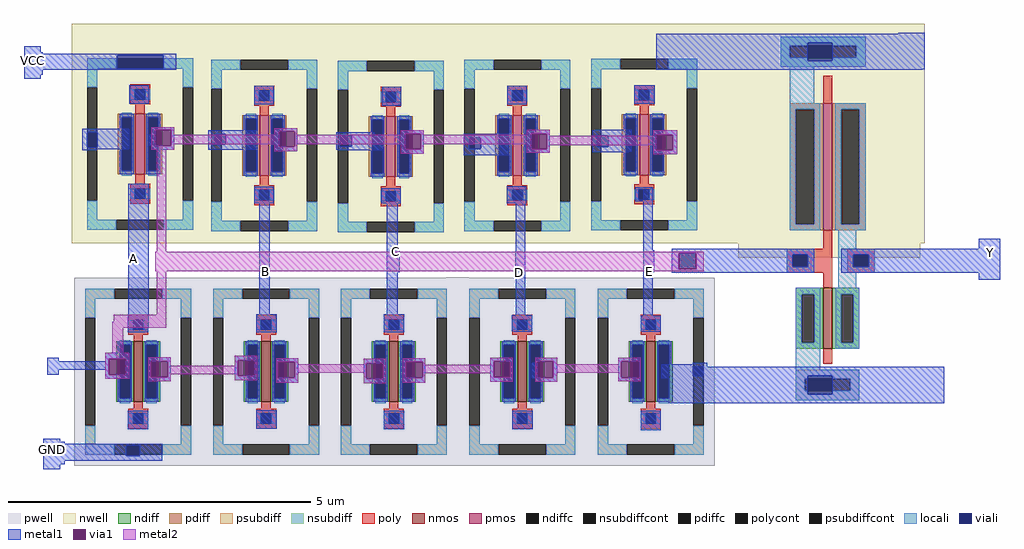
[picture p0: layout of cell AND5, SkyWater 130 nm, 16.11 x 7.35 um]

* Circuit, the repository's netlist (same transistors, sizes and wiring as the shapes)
* SPICE3 file created from AND5.ext - technology: sky130A

.subckt sky130_fd_pr__nfet_01v8_SFU2NW B D S G
X0 S G D B sky130_fd_pr__nfet_01v8 ad=0.29 pd=2.58 as=0.29 ps=2.58 w=1 l=0.15
.ends

.subckt sky130_fd_pr__pfet_01v8_KBS6X7 B D S G VSUBS
X0 S G D B sky130_fd_pr__pfet_01v8 ad=0.29 pd=2.58 as=0.29 ps=2.58 w=1 l=0.15
.ends

.subckt NAND5 VDD E C D B A Y GND
XXM1 GND Y XM8/D A sky130_fd_pr__nfet_01v8_SFU2NW
XXM2 GND XM8/S XM6/D C sky130_fd_pr__nfet_01v8_SFU2NW
XXM3 VDD VDD Y A GND sky130_fd_pr__pfet_01v8_KBS6X7
XXM4 VDD VDD Y B GND sky130_fd_pr__pfet_01v8_KBS6X7
XXM5 VDD VDD Y C GND sky130_fd_pr__pfet_01v8_KBS6X7
XXM6 GND XM6/D XM6/S D sky130_fd_pr__nfet_01v8_SFU2NW
XXM8 GND XM8/D XM8/S B sky130_fd_pr__nfet_01v8_SFU2NW
Xsky130_fd_pr__pfet_01v8_KBS6X7_0 VDD VDD Y D GND sky130_fd_pr__pfet_01v8_KBS6X7
Xsky130_fd_pr__pfet_01v8_KBS6X7_1 VDD VDD Y E GND sky130_fd_pr__pfet_01v8_KBS6X7
Xsky130_fd_pr__nfet_01v8_SFU2NW_0 GND XM6/S GND E sky130_fd_pr__nfet_01v8_SFU2NW
*C0 VDD GND 5.552845f
.ends

.subckt INV vdd vss out in
X0 out in vdd vdd sky130_fd_pr__pfet_01v8 ad=1.155 pd=5.3 as=1.155 ps=5.3 w=2.1 l=0.15
X1 out in vss vss sky130_fd_pr__nfet_01v8 ad=0.45 pd=2.9 as=0.45 ps=2.9 w=1 l=0.15
.ends

**.subckt AND5
XNAND5_0 VCC E C D B A INV_0/in GND NAND5
XINV_0 VCC GND Y INV_0/in INV
*C0 VCC GND 7.627772f
**.ends

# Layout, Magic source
magic
tech sky130A
<< nwell >>
rect 45 368 1453 730
<< metal1 >>
rect -34 639 -6 693
rect 141 334 153 350
rect 354 319 370 355
rect 570 320 586 356
rect 777 319 793 355
rect 990 320 1006 356
rect 1542 308 1577 375
rect -2 -5 26 45
<< via1 >>
rect 1047 351 1075 352
rect 1047 325 1076 351
<< metal2 >>
rect 183 352 1088 354
rect 183 325 1047 352
rect 1075 351 1088 352
rect 1076 325 1088 351
rect 183 322 1088 325
use INV  INV_0
transform 1 0 1295 0 1 494
box -285 -390 280 235
use NAND5  NAND5_0
transform 1 0 289 0 1 590
box -321 -589 817 101
<< labels >>
rlabel metal1 1562 352 1562 352 1 Y
rlabel metal1 13 28 13 28 1 GND
rlabel metal1 -20 670 -20 670 1 VCC
rlabel metal1 147 342 147 342 1 A
rlabel metal1 364 321 364 321 1 B
rlabel metal1 580 355 580 355 1 C
rlabel metal1 784 320 784 320 1 D
rlabel metal1 998 321 998 321 1 E
<< end >>

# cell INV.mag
magic
tech sky130A
<< nwell >>
rect -150 -150 150 235
<< nmos >>
rect -10 -300 5 -200
<< pmos >>
rect -10 -105 5 105
<< ndiff >>
rect -55 -210 -10 -200
rect -55 -290 -45 -210
rect -25 -290 -10 -210
rect -55 -300 -10 -290
rect 5 -210 50 -200
rect 5 -290 20 -210
rect 40 -290 50 -210
rect 5 -300 50 -290
<< pdiff >>
rect -65 95 -10 105
rect -65 -95 -55 95
rect -25 -95 -10 95
rect -65 -105 -10 -95
rect 5 95 60 105
rect 5 -95 20 95
rect 50 -95 60 95
rect 5 -105 60 -95
<< ndiffc >>
rect -45 -290 -25 -210
rect 20 -290 40 -210
<< pdiffc >>
rect -55 -95 -25 95
rect 20 -95 50 95
<< psubdiff >>
rect -55 -350 50 -335
rect -55 -370 -40 -350
rect 35 -370 50 -350
rect -55 -385 50 -370
<< nsubdiff >>
rect -80 200 60 215
rect -80 180 -65 200
rect 45 180 60 200
rect -80 165 60 180
<< psubdiffcont >>
rect -40 -370 35 -350
<< nsubdiffcont >>
rect -65 180 45 200
<< poly >>
rect -10 105 5 150
rect -10 -135 5 -105
rect -70 -145 5 -135
rect -70 -165 -60 -145
rect -35 -165 5 -145
rect -70 -175 5 -165
rect 30 -145 75 -135
rect 30 -165 40 -145
rect 65 -165 75 -145
rect 30 -175 75 -165
rect -10 -200 5 -175
rect -10 -325 5 -300
<< polycont >>
rect -60 -165 -35 -145
rect 40 -165 65 -145
<< locali >>
rect -80 205 60 215
rect -80 200 -35 205
rect 5 200 60 205
rect -80 180 -65 200
rect 45 180 60 200
rect -80 175 -35 180
rect 5 175 60 180
rect -80 165 60 175
rect -65 105 -25 165
rect -65 95 -15 105
rect -65 -95 -55 95
rect -25 -95 -15 95
rect -65 -105 -15 -95
rect 10 95 60 105
rect 10 -95 20 95
rect 50 -95 60 95
rect 10 -105 60 -95
rect 15 -135 45 -105
rect -70 -145 -25 -135
rect -70 -165 -60 -145
rect -35 -165 -25 -145
rect -70 -175 -25 -165
rect 15 -145 75 -135
rect 15 -165 40 -145
rect 65 -165 75 -145
rect 15 -175 75 -165
rect 15 -200 45 -175
rect -55 -210 -15 -200
rect -55 -290 -45 -210
rect -25 -290 -15 -210
rect -55 -335 -15 -290
rect 10 -210 50 -200
rect 10 -290 20 -210
rect 40 -290 50 -210
rect 10 -300 50 -290
rect -55 -345 50 -335
rect -55 -350 -35 -345
rect 5 -350 50 -345
rect -55 -370 -40 -350
rect 35 -370 50 -350
rect -55 -375 -35 -370
rect 5 -375 50 -370
rect -55 -385 50 -375
<< viali >>
rect -35 200 5 205
rect -35 180 5 200
rect -35 175 5 180
rect -60 -165 -35 -145
rect 40 -165 65 -145
rect -35 -350 5 -345
rect -35 -370 5 -350
rect -35 -375 5 -370
<< metal1 >>
rect 114 220 158 221
rect -285 205 158 220
rect -285 175 -35 205
rect 5 175 158 205
rect -285 161 158 175
rect -285 160 154 161
rect -260 -145 -25 -135
rect -260 -165 -60 -145
rect -35 -165 -25 -145
rect -260 -175 -25 -165
rect 20 -145 280 -135
rect 20 -165 40 -145
rect 65 -165 280 -145
rect 20 -175 280 -165
rect -265 -345 190 -330
rect -265 -375 -35 -345
rect 5 -375 190 -345
rect -265 -390 190 -375
<< labels >>
rlabel metal1 155 196 155 196 1 vdd
rlabel metal1 250 -165 265 -145 1 out
rlabel metal1 175 -360 175 -360 1 vss
rlabel metal1 -240 -165 -225 -145 1 in
<< end >>

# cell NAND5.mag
magic
tech sky130A
magscale 1 2
<< nwell >>
rect -384 128 -174 130
rect -454 -138 -406 -66
rect -212 -74 -160 -70
rect 1230 -144 1352 -72
<< pwell >>
rect 748 -1178 822 -556
rect 1196 -1178 1236 -558
<< viali >>
rect -338 134 -186 176
rect -438 -128 -404 -78
rect -16 -118 20 -84
rect 396 -124 436 -88
rect 824 -132 862 -96
rect 1244 -126 1282 -90
rect 1562 -884 1598 -850
rect -308 -1146 -264 -1112
<< metal1 >>
rect -642 182 -584 186
rect -642 176 -144 182
rect -642 134 -338 176
rect -186 134 -144 176
rect -642 128 -144 134
rect -642 112 -584 128
rect -298 16 -234 78
rect 114 14 178 76
rect 536 10 600 72
rect 950 14 1014 76
rect 1368 16 1436 78
rect -454 -78 -298 -66
rect -454 -128 -438 -78
rect -404 -128 -298 -78
rect -226 -70 -150 -62
rect -226 -86 -212 -70
rect -232 -122 -212 -86
rect -160 -122 -150 -70
rect -454 -134 -298 -128
rect -454 -138 -406 -134
rect -226 -136 -150 -122
rect -38 -84 122 -72
rect -38 -118 -16 -84
rect 20 -118 122 -84
rect -38 -136 122 -118
rect 180 -74 256 -64
rect 180 -126 196 -74
rect 248 -126 256 -74
rect 180 -140 256 -126
rect 384 -86 512 -78
rect 598 -82 674 -72
rect 1014 -82 1090 -70
rect 1238 -72 1360 -70
rect 384 -88 536 -86
rect 384 -124 396 -88
rect 436 -124 536 -88
rect 384 -136 536 -124
rect 392 -138 536 -136
rect 598 -134 612 -82
rect 664 -134 674 -82
rect 598 -148 674 -134
rect 806 -96 958 -82
rect 806 -132 824 -96
rect 862 -132 958 -96
rect 806 -154 958 -132
rect 1014 -134 1028 -82
rect 1080 -134 1090 -82
rect 1014 -146 1090 -134
rect 1230 -90 1360 -72
rect 1230 -126 1244 -90
rect 1282 -126 1360 -90
rect 1230 -142 1360 -126
rect 1432 -86 1510 -72
rect 1432 -138 1442 -86
rect 1496 -138 1510 -86
rect 1230 -144 1352 -142
rect 1432 -150 1510 -138
rect -302 -678 -234 -248
rect 114 -312 178 -258
rect 534 -312 598 -262
rect 948 -312 1012 -256
rect 130 -678 166 -312
rect 552 -678 588 -312
rect -304 -722 -234 -678
rect -304 -738 -236 -722
rect 120 -738 188 -678
rect 542 -738 610 -678
rect 978 -682 1008 -312
rect 964 -734 1032 -682
rect 1398 -684 1430 -262
rect 1390 -734 1456 -684
rect -570 -834 -532 -822
rect -378 -826 -298 -806
rect -378 -834 -366 -826
rect -570 -862 -366 -834
rect -570 -878 -532 -862
rect -378 -878 -366 -862
rect -310 -878 -298 -826
rect -378 -892 -298 -878
rect -236 -834 -162 -820
rect -236 -886 -228 -834
rect -172 -886 -162 -834
rect -236 -900 -162 -886
rect 50 -830 124 -816
rect 50 -882 60 -830
rect 116 -882 124 -830
rect 50 -896 124 -882
rect 186 -836 260 -824
rect 186 -888 192 -836
rect 248 -888 260 -836
rect 186 -904 260 -888
rect 476 -840 550 -826
rect 476 -892 484 -840
rect 540 -892 550 -840
rect 476 -906 550 -892
rect 604 -836 678 -824
rect 604 -888 614 -836
rect 670 -888 678 -836
rect 604 -904 678 -888
rect 894 -834 968 -822
rect 894 -886 904 -834
rect 960 -886 968 -834
rect 1042 -834 1114 -822
rect 1042 -838 1048 -834
rect 894 -902 968 -886
rect 1030 -888 1048 -838
rect 1102 -888 1114 -834
rect 1030 -890 1114 -888
rect 1042 -902 1114 -890
rect 1316 -834 1390 -822
rect 1316 -888 1326 -834
rect 1386 -888 1390 -834
rect 1562 -844 1610 -838
rect 1316 -900 1390 -888
rect 1458 -850 1610 -844
rect 1458 -884 1562 -850
rect 1598 -884 1610 -850
rect 1458 -890 1610 -884
rect 1562 -894 1610 -890
rect -304 -1058 -236 -998
rect 120 -1056 188 -996
rect 542 -1058 610 -998
rect 966 -1058 1034 -998
rect 1390 -1062 1456 -998
rect -570 -1106 -512 -1100
rect -570 -1112 -190 -1106
rect -570 -1146 -308 -1112
rect -264 -1146 -190 -1112
rect -570 -1162 -190 -1146
rect -570 -1174 -512 -1162
<< via1 >>
rect -212 -122 -160 -70
rect 196 -126 248 -74
rect 612 -134 664 -82
rect 1028 -134 1080 -82
rect 1442 -138 1496 -86
rect -366 -878 -310 -826
rect -228 -886 -172 -834
rect 60 -882 116 -830
rect 192 -888 248 -836
rect 484 -892 540 -840
rect 614 -888 670 -836
rect 904 -886 960 -834
rect 1048 -888 1102 -834
rect 1326 -888 1386 -834
<< metal2 >>
rect -226 -70 -150 -62
rect -226 -122 -212 -70
rect -160 -86 -150 -70
rect 180 -74 256 -64
rect 180 -86 196 -74
rect -160 -118 196 -86
rect -160 -122 -150 -118
rect -226 -136 -150 -122
rect 180 -126 196 -118
rect 248 -86 256 -74
rect 598 -82 674 -72
rect 598 -86 612 -82
rect 248 -118 612 -86
rect 248 -126 256 -118
rect -208 -680 -176 -136
rect 180 -140 256 -126
rect 598 -134 612 -118
rect 664 -86 674 -82
rect 1014 -82 1090 -70
rect 1014 -86 1028 -82
rect 664 -118 1028 -86
rect 664 -134 674 -118
rect 598 -148 674 -134
rect 1014 -134 1028 -118
rect 1080 -90 1090 -82
rect 1432 -86 1510 -72
rect 1432 -90 1442 -86
rect 1080 -120 1442 -90
rect 1080 -134 1090 -120
rect 1014 -146 1090 -134
rect 1432 -138 1442 -120
rect 1496 -138 1510 -86
rect 1432 -150 1510 -138
rect -350 -704 -176 -680
rect -354 -724 -176 -704
rect -354 -806 -318 -724
rect -378 -826 -298 -806
rect -378 -878 -366 -826
rect -310 -878 -298 -826
rect -378 -892 -298 -878
rect -236 -834 -162 -820
rect -236 -886 -228 -834
rect -172 -848 -162 -834
rect 50 -830 124 -816
rect 50 -848 60 -830
rect -172 -876 60 -848
rect -172 -886 -162 -876
rect -236 -900 -162 -886
rect 50 -882 60 -876
rect 116 -882 124 -830
rect 50 -896 124 -882
rect 186 -836 260 -824
rect 186 -888 192 -836
rect 248 -844 260 -836
rect 476 -840 550 -826
rect 476 -844 484 -840
rect 248 -872 484 -844
rect 248 -888 260 -872
rect 186 -904 260 -888
rect 476 -892 484 -872
rect 540 -892 550 -840
rect 476 -906 550 -892
rect 604 -836 678 -824
rect 604 -888 614 -836
rect 670 -846 678 -836
rect 894 -834 968 -822
rect 894 -846 904 -834
rect 670 -874 904 -846
rect 670 -888 678 -874
rect 604 -904 678 -888
rect 894 -886 904 -874
rect 960 -886 968 -834
rect 894 -902 968 -886
rect 1042 -834 1114 -822
rect 1042 -888 1048 -834
rect 1102 -844 1114 -834
rect 1316 -834 1390 -822
rect 1316 -844 1326 -834
rect 1102 -872 1326 -844
rect 1102 -888 1114 -872
rect 1042 -902 1114 -888
rect 1316 -888 1326 -872
rect 1386 -888 1390 -834
rect 1316 -900 1390 -888
use sky130_fd_pr__nfet_01v8_SFU2NW  sky130_fd_pr__nfet_01v8_SFU2NW_0
transform 1 0 1423 0 1 -868
box -211 -310 211 310
use sky130_fd_pr__pfet_01v8_KBS6X7  sky130_fd_pr__pfet_01v8_KBS6X7_0
transform 1 0 983 0 1 -121
box -211 -319 211 319
use sky130_fd_pr__pfet_01v8_KBS6X7  sky130_fd_pr__pfet_01v8_KBS6X7_1
transform 1 0 1401 0 1 -119
box -211 -319 211 319
use sky130_fd_pr__nfet_01v8_SFU2NW  XM1
transform 1 0 -269 0 1 -868
box -211 -310 211 310
use sky130_fd_pr__nfet_01v8_SFU2NW  XM2
transform 1 0 575 0 1 -868
box -211 -310 211 310
use sky130_fd_pr__pfet_01v8_KBS6X7  XM3
transform 1 0 -263 0 1 -117
box -211 -319 211 319
use sky130_fd_pr__pfet_01v8_KBS6X7  XM4
transform 1 0 147 0 1 -121
box -211 -319 211 319
use sky130_fd_pr__pfet_01v8_KBS6X7  XM5
transform 1 0 565 0 1 -125
box -211 -319 211 319
use sky130_fd_pr__nfet_01v8_SFU2NW  XM6
transform 1 0 999 0 1 -868
box -211 -310 211 310
use sky130_fd_pr__nfet_01v8_SFU2NW  XM8
transform 1 0 153 0 1 -868
box -211 -310 211 310
<< labels >>
rlabel metal1 -640 148 -640 148 3 VDD
rlabel metal1 -296 -494 -296 -494 1 A
rlabel metal1 136 -488 136 -488 1 B
rlabel metal1 558 -510 558 -510 1 C
rlabel metal1 984 -494 984 -494 1 D
rlabel metal1 -558 -856 -558 -856 1 Y
rlabel metal1 -562 -1146 -562 -1146 1 GND
rlabel metal1 1410 -514 1410 -514 1 E
<< end >>

# cell sky130_fd_pr__nfet_01v8_SFU2NW: kit device sky130_fd_pr__nfet_01v8, w 1.0 l 0.15 m 1 nf 1 diffcov 100 polycov 100 guard 1 glc 1 grc 1 gtc 1 gbc 1 tbcov 100 rlcov 100 topc 1 botc 1 poverlap 0 doverlap 1 lmin 0.15 wmin 0.42 class mosfet compatible {sky130_fd_pr__nfet_01v8 sky130_fd_pr__nfet_01v8_lvt sky130_fd_bs_flash__special_sonosfet_star sky130_fd_pr__nfet_g5v0d10v5 sky130_fd_pr__nfet_05v0_nvt sky130_fd_pr__nfet_03v3_nvt} full_metal 1 viasrc 100 viadrn 100 viagate 100 viagb 0 viagr 0 viagl 0 viagt 0 doports 1 ad {int((nf+1)/2) * W/nf * 0.29} as {int((nf+2)/2) * W/nf * 0.29} pd {2*int((nf+1)/2) * (W/nf + 0.29)} ps {2*int((nf+2)/2) * (W/nf + 0.29)} nrd {0.29 / W} nrs {0.29 / W} sa 0 sb 0 sd 0 mult 1

# cell sky130_fd_pr__pfet_01v8_KBS6X7: kit device sky130_fd_pr__pfet_01v8, w 1.0 l 0.15 m 1 nf 1 diffcov 100 polycov 100 guard 1 glc 1 grc 1 gtc 1 gbc 1 tbcov 100 rlcov 100 topc 1 botc 1 poverlap 0 doverlap 1 lmin 0.15 wmin 0.42 class mosfet compatible {sky130_fd_pr__pfet_01v8 sky130_fd_pr__pfet_01v8_lvt sky130_fd_pr__pfet_01v8_hvt sky130_fd_pr__pfet_g5v0d10v5} full_metal 1 viasrc 100 viadrn 100 viagate 100 viagb 0 viagr 0 viagl 0 viagt 0 doports 1 ad {int((nf+1)/2) * W/nf * 0.29} as {int((nf+2)/2) * W/nf * 0.29} pd {2*int((nf+1)/2) * (W/nf + 0.29)} ps {2*int((nf+2)/2) * (W/nf + 0.29)} nrd {0.29 / W} nrs {0.29 / W} sa 0 sb 0 sd 0 mult 1
